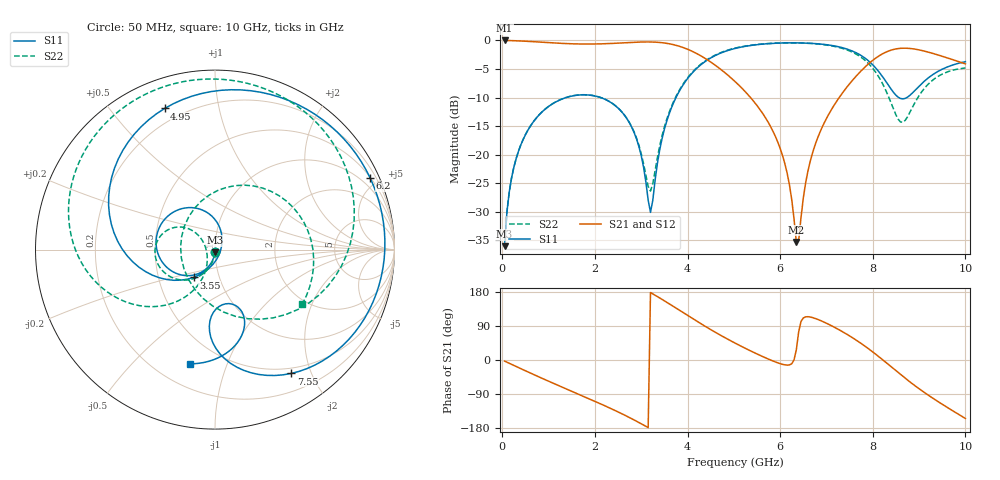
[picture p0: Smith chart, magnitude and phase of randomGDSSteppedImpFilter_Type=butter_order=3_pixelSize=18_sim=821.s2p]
! freq	dB(S11)	phase(S11)	dB(S12)	phase(S12)
!  dB(S21)	phase(S21)	dB(S22)	phase(S22)
!S-par simulation data
#  GHz  S  DB  R 50
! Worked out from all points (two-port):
!   200 points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, 50 MHz to 10 GHz, reference 50 ohm
!   highest |S21| = -0.01 dB at 50 MHz (marker M1); lowest = -35.3 dB at 6.35 GHz (marker M2)
!   |S21| within 3 dB of the highest: start of sweep to 4.352 GHz; 8.08 GHz to 9.59 GHz (1.51 GHz wide, 17.1 % of centre)
!   lowest |S11| = -36.0 dB at 50 MHz (marker M3), VSWR 1.03, Z = 49.9 - j1.58 ohm
!   |S11| at or under -10 dB: start of sweep to 1.378 GHz; 2.122 GHz to 3.75 GHz (1.629 GHz wide, 55.5 % of centre); 8.561 GHz to 8.734 GHz (173 MHz wide, 2 % of centre)
!   |S22| runs from -36.0 to -0.4 dB; largest |S21 - S12| = 0
!   S11 on the Smith chart (normalised r, x): 50 MHz: 1.00, -0.03; 3.55 GHz: 0.75, -0.24; 4.95 GHz: 0.13, +0.70; 6.2 GHz: 0.53, +4.51; 7.55 GHz: 0.43, -1.71; 10 GHz: 0.34, -0.75
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0.05  -36.02 -92.6  -0.01 -2.9  -0.01 -2.9  -36.01 -92.1
0.2  -24.09 -102.8  -0.04 -11.5  -0.04 -11.5  -24.08 -100.7
0.5  -16.50 -121.7  -0.14 -28.5  -0.14 -28.5  -16.49 -116.3
1.75  -9.52 163.4  -0.63 -95.7  -0.63 -95.7  -9.50 -175.8
2.75  -14.50 95.7  -0.36 -152.1  -0.36 -152.1  -14.44 141.9
3.2  -30.10 -16.9  -0.27 178.1  -0.27 178.1  -26.37 -165.6
3.4  -19.13 -107.9  -0.36 163.6  -0.36 163.6  -18.42 -114.8
3.55  -14.16 -127.6  -0.51 152.4  -0.51 152.4  -13.83 -114.8
4.3  -4.18 161.9  -2.76 94.9  -2.76 94.9  -4.08 -155.9
4.95  -1.57 109.6  -6.64 49.5  -6.64 49.5  -1.51 166.1
5.05  -1.36 102.2  -7.38 43.1  -7.38 43.1  -1.30 160.7
5.6  -0.66 63.6  -12.51 10.3  -12.51 10.3  -0.63 131.9
6.2  -0.43 24.7  -25.25 -12.9  -25.25 -12.9  -0.42 100.9
6.35  -0.43 15.3  -35.30 27.4  -35.30 27.4  -0.43 92.8
6.7  -0.52 -6.2  -19.68 111.9  -19.68 111.9  -0.55 73.0
7.55  -1.83 -58.4  -7.09 59.7  -7.09 59.7  -2.02 11.9
8  -4.28 -84.8  -3.48 21.3  -3.48 21.3  -4.89 -35.9
8.35  -7.98 -94.1  -1.83 -13.2  -1.83 -13.2  -10.04 -92.3
8.65  -10.23 -78.9  -1.36 -43.2  -1.36 -43.2  -14.33 175.9
9.15  -6.88 -68.7  -1.94 -88.8  -1.94 -88.8  -8.06 65.3
9.6  -4.68 -84.4  -3.03 -124.5  -3.03 -124.5  -5.55 11.5
10  -3.73 -102.1  -4.11 -154.3  -4.11 -154.3  -4.83 -32.1
